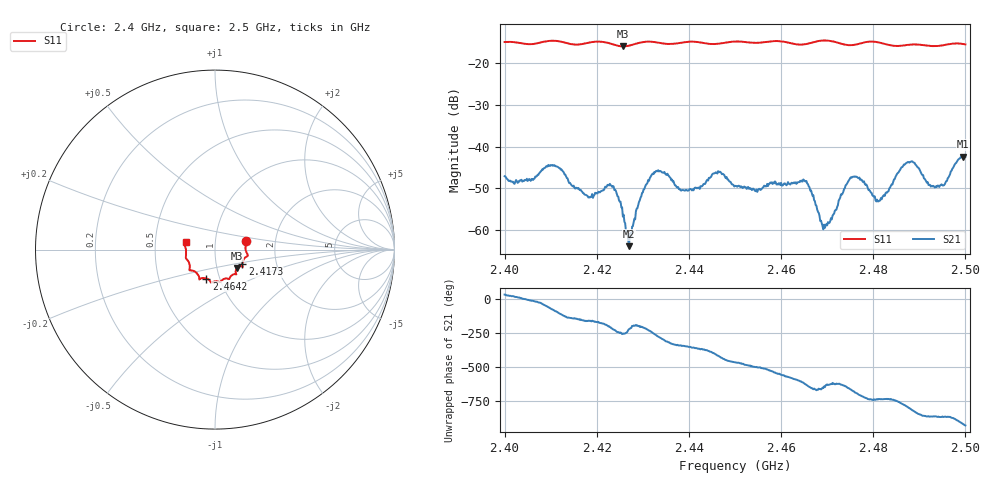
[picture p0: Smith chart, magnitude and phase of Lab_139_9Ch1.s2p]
# Hz S RI R 50
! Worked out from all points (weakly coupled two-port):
!   601 points, 2.4 GHz to 2.5 GHz, reference 50 ohm
!   highest |S21| = -42.34 dB at 2.4995 GHz (marker M1); lowest = -63.8 dB at 2.427 GHz (marker M2)
!   lowest |S11| = -15.9 dB at 2.4257 GHz (marker M3), VSWR 1.38, Z = 62.4 - j13.1 ohm
!   |S11| at or under -10 dB: start of sweep to end of sweep
!   S12 and S22 are empty: the file has one direction only
!   S11 on the Smith chart (normalised r, x): 2.4 GHz: 1.41, +0.15; 2.4173 GHz: 1.34, -0.23; 2.4642 GHz: 0.86, -0.29; 2.5 GHz: 0.72, +0.06
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2.4e9  0.1734 0.0498  0.00382 0.00225  0 0  0 0
2.4105e9  0.1838 -0.0335  0.000935 -0.00583  0 0  0 0
2.416667e9  0.1527 -0.0749  -0.00269 -0.00119  0 0  0 0
2.417333e9  0.1521 -0.0822  -0.00256 -0.00079  0 0  0 0
2.423167e9  0.144 -0.0933  -0.00274 0.00202  0 0  0 0
2.425667e9  0.1224 -0.1025  -0.000354 0.00141  0 0  0 0
2.427e9  0.1163 -0.1145  -0.000464 0.000444  0 0  0 0
2.430333e9  0.1185 -0.1368  -0.00252 0.00184  0 0  0 0
2.433333e9  0.1128 -0.1366  0.000755 0.00517  0 0  0 0
2.438667e9  0.0816 -0.1583  0.00294 0.000743  0 0  0 0
2.446333e9  0.0447 -0.1662  0.00264 -0.00436  0 0  0 0
2.45e9  0.0297 -0.1807  -0.000989 -0.00324  0 0  0 0
2.464167e9  -0.0482 -0.161  -0.0015 0.00361  0 0  0 0
2.466667e9  -0.0762 -0.1599  0.00123 0.00248  0 0  0 0
2.4695e9  -0.0877 -0.1666  0.000363 0.001  0 0  0 0
2.4755e9  -0.1116 -0.1225  0.00314 0.003  0 0  0 0
2.481e9  -0.1422 -0.1091  0.00207 -0.000768  0 0  0 0
2.483333e9  -0.1407 -0.0895  0.00283 -0.000826  0 0  0 0
2.488e9  -0.1602 -0.0509  0.00028 -0.00654  0 0  0 0
2.494833e9  -0.1638 0.00844  -0.00303 -0.00183  0 0  0 0
2.4995e9  -0.1662 0.0387  -0.00718 0.0026  0 0  0 0
2.5e9  -0.1636 0.0419  -0.00647 0.00393  0 0  0 0
